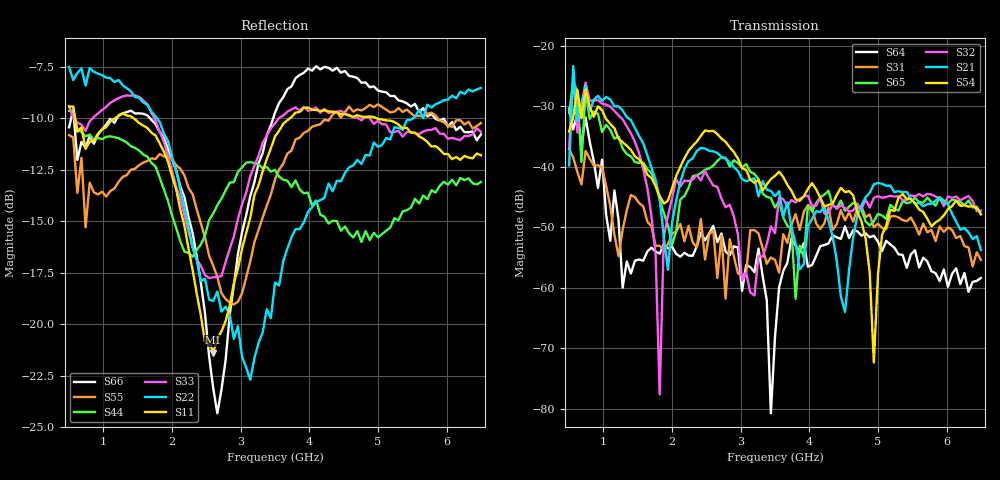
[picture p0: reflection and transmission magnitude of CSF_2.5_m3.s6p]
!Keysight Technologies,M9804A,MY58100912,A.14.10.03
!Date: Thursday, April 27, 2023 10:28:33
!Correction: S11(C  6-Port  )
!S12(C  6-Port  )
!S13(C  6-Port  )
!S14(C  6-Port  )
!S15(C  6-Port  )
!S16(C  6-Port  )
!S21(C  6-Port  )
!S22(C  6-Port  )
!S23(C  6-Port  )
!S24(C  6-Port  )
!S25(C  6-Port  )
!S26(C  6-Port  )
!S31(C  6-Port  )
!S32(C  6-Port  )
!S33(C  6-Port  )
!S34(C  6-Port  )
!S35(C  6-Port  )
!S36(C  6-Port  )
!S41(C  6-Port  )
!S42(C  6-Port  )
!S43(C  6-Port  )
!S44(C  6-Port  )
!S45(C  6-Port  )
!S46(C  6-Port  )
!S51(C  6-Port  )
!S52(C  6-Port  )
!S53(C  6-Port  )
!S54(C  6-Port  )
!S55(C  6-Port  )
!S56(C  6-Port  )
!S61(C  6-Port  )
!S62(C  6-Port  )
!S63(C  6-Port  )
!S64(C  6-Port  )
!S65(C  6-Port  )
!S66(C  6-Port  )
!S6P File: Measurement: :
# Hz S  RI  R 50
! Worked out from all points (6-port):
!   101 points, 500 MHz to 6.5 GHz, reference 50 ohm
!   strongest paths, dB at 500 MHz, 2 GHz, 3.5 GHz, 5 GHz, 6.5 GHz:
!     S54: -34.2, -43.5, -41.5, -57.9, -47.8
!     S21: -39.8, -49.2, -44.9, -42.7, -53.8
!     S32: -37.0, -45.2, -51.0, -44.9, -47.2
!     S65: -31.2, -52.9, -46.8, -47.8, -47.9
!     S31: -37.1, -51.1, -55.4, -49.4, -55.4
!     S64: -30.4, -53.2, -68.1, -52.4, -58.4
!   lowest |S11| = -21.4 dB at 2.6 GHz (marker M1), VSWR 1.19, Z = 42.4 + j2.19 ohm
!   |S11| at or under -10 dB: 588.4 MHz to 1.164 GHz (575.8 MHz wide, 65.7 % of centre); 1.443 GHz to 3.715 GHz (2.272 GHz wide, 88.1 % of centre); 4.986 GHz to end of sweep
